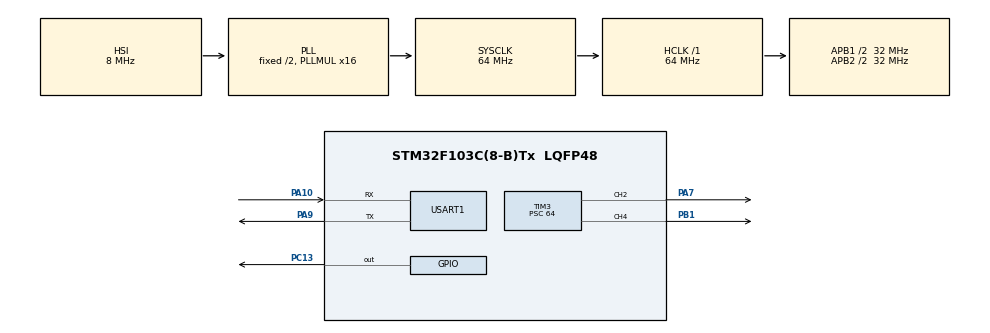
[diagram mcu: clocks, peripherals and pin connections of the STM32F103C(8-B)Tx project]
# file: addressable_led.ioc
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Mcu.Family=STM32F1
PA10.Mode=Asynchronous
TIM3.AutoReloadPreload=TIM_AUTORELOAD_PRELOAD_ENABLE
Dma.TIM3_CH4/UP.0.Mode=DMA_CIRCULAR
PC13-TAMPER-RTC.Signal=GPIO_Output
RCC.APB1CLKDivider=RCC_HCLK_DIV2
TIM3.Channel-PWM\ Generation4\ CH4=TIM_CHANNEL_4
RCC.SYSCLKSource=RCC_SYSCLKSOURCE_PLLCLK
ProjectManager.StackSize=0x400
NVIC.DMA1_Channel3_IRQn=true\:0\:0\:false\:false\:true\:false\:true
PA13.Signal=SYS_JTMS-SWDIO
PA9.Mode=Asynchronous
ProjectManager.TargetToolchain=TrueSTUDIO
RCC.HCLKFreq_Value=64000000
RCC.APB2TimFreq_Value=64000000
TIM3.Period=1000
PA9.Signal=USART1_TX
Dma.TIM3_CH4/UP.0.Instance=DMA1_Channel3
RCC.USBFreq_Value=64000000
RCC.AHBFreq_Value=64000000
SH.S_TIM3_CH2.0=TIM3_CH2,PWM Generation2 CH2
board=custom
RCC.PLLMUL=RCC_PLL_MUL16
NVIC.TIM3_IRQn=true\:0\:0\:false\:false\:true\:true\:true
RCC.APB2Freq_Value=32000000
PA14.Mode=Serial_Wire
TIM3.Prescaler=64
Dma.TIM3_CH4/UP.0.MemInc=DMA_MINC_ENABLE
PA13.Mode=Serial_Wire
Mcu.Name=STM32F103C(8-B)Tx
RCC.SYSCLKFreq_VALUE=64000000
Mcu.Package=LQFP48
PB1.Signal=S_TIM3_CH4
Dma.TIM3_CH4/UP.0.Priority=DMA_PRIORITY_LOW
USART1.VirtualMode=VM_ASYNC
PA10.Signal=USART1_RX
PA14.Signal=SYS_JTCK-SWCLK
ProjectManager.HeapSize=0x200
Dma.TIM3_CH4/UP.0.Direction=DMA_MEMORY_TO_PERIPH
Dma.TIM3_CH4/UP.0.MemDataAlignment=DMA_MDATAALIGN_HALFWORD
NVIC.PriorityGroup=NVIC_PRIORITYGROUP_4
RCC.APB2CLKDivider=RCC_HCLK_DIV2
TIM3.Channel-PWM\ Generation2\ CH2=TIM_CHANNEL_2
RCC.APB1TimFreq_Value=64000000
TIM3.Pulse-PWM\ Generation2\ CH2=1000
NVIC.USART1_IRQn=true\:0\:0\:false\:false\:true\:true\:true
Dma.Request0=TIM3_CH4/UP
RCC.APB1Freq_Value=32000000
Dma.TIM3_CH4/UP.0.PeriphInc=DMA_PINC_DISABLE
Dma.TIM3_CH4/UP.0.PeriphDataAlignment=DMA_PDATAALIGN_HALFWORD
SH.S_TIM3_CH4.0=TIM3_CH4,PWM Generation4 CH4
PA7.Signal=S_TIM3_CH2

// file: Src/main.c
/* USER CODE BEGIN Header */
/**
  ******************************************************************************
  * @file           : main.c
  * @brief          : Main program body
  ******************************************************************************
  * @attention
  *
  * <h2><center>&copy; Copyright (c) 2019 STMicroelectronics.
  * All rights reserved.</center></h2>
  *
  * This software component is licensed by ST under BSD 3-Clause license,
  * the "License"; You may not use this file except in compliance with the
  * License. You may obtain a copy of the License at:
  *                        opensource.org/licenses/BSD-3-Clause
  *
  ******************************************************************************
  */
/* USER CODE END Header */

#include "main.h"

/* USER CODE BEGIN Includes */
#include <stdint.h>
#include <stdio.h>
/* USER CODE END Includes */

/* USER CODE BEGIN PM */
typedef struct{
	uint16_t *pwm_table;
	uint16_t index;
	uint16_t size;
}pwm_list_t;

/*pwm single signal, */
//#define ONE_SEC_TESD
#define ADDRESSABLE_LED

#ifdef ADDRESSABLE_LED
	#define TIMER_PERIOD ((SystemCoreClock / 800000) - 1)
	#define TIMER_PRESCALER 0

	#define W1 52
	#define W0 26
//	uint32_t uhTimerPeriod = (uint32_t)((SystemCoreClock / 800000) - 1); //to get

	#define PWM_PERIOD  W0
	#define BLINK_PERIOD_LED ((uint32_t)10)
	//4 IS ZERO 8 IS 1
	uint16_t pwm_value[] ={

		W0,W0,W0,W0,W1,W1,W1,W1,
		W0,W0,W0,W0,W0,W0,W0,W0,
		W0,W0,W0,W0,W0,W0,W0,W0,

		W0,W0,W0,W0,W0,W0,W0,W0,
		W0,W0,W0,W0,W1,W1,W1,W1,
		W0,W0,W0,W0,W0,W0,W0,W0,

		W0,W0,W0,W0,W0,W0,W0,W0,
		W0,W0,W0,W0,W0,W0,W0,W0,
		W0,W0,W0,W1,W1,W1,W1,W1,

		W0,W0,W0,W0,W1,W1,W1,W1,
		W0,W0,W0,W0,W0,W0,W0,W0,
		W0,W0,W0,W0,W1,W1,W1,W1,

			W0,W0,W0,W0,W1,W1,W0,W1,
			W0,W1,W0,W0,W1,W0,W0,W0,
			W0,W0,W0,W1,W0,W1,W0,W0,

			W0,W0,W0,W1,W0,W0,W0,W0,
			W0,W0,W0,W1,W0,W0,W0,W0,
			W0,W0,W0,W1,W0,W0,W0,W0,

			W0,W0,W0,W1,W0,W0,W0,W0,
			W0,W0,W0,W0,W0,W0,W0,W0,
			W0,W0,W0,W1,W0,W0,W0,W0,

			W0,W0,W0,W0,W1,W1,W1,W1,
			W0,W0,W1,W1,W0,W0,W0,W0,
			W0,W0,W0,W0,W1,W1,W1,W1,

			W0,W0,W0,W1,W0,W0,W0,W0,
			W0,W0,W0,W0,W1,W0,W0,W0,
			W0,W0,W0,W1,W0,W1,W1,W0,

		0,0,0,0,0,0,0,0,
		0,0,0,0,0,0,0,0,
		0,0,0,0,0,0,0,0,

		0,0,0,0,0,0,0,0,
		0,0,0,0,0,0,0,0,
		0,0,0,0,0,0,0,0,

		0,0,0,0,0,0,0,0,
		0,0,0,0,0,0,0,0,
		0,0,0,0,0,0,0,0
};

uint16_t pwm_value_2[] ={

	W0,W0,W0,W0,W1,W1,W1,W1,
	W0,W0,W0,W0,W0,W0,W0,W0,
	W0,W0,W0,W0,W0,W0,W0,W0,

	W0,W0,W0,W0,W0,W0,W0,W0,
	W0,W0,W0,W0,W1,W1,W1,W1,
	W0,W0,W0,W0,W0,W0,W0,W0,

	W0,W0,W0,W0,W0,W0,W0,W0,
	W0,W0,W0,W0,W0,W0,W0,W0,
	W0,W0,W0,W1,W1,W1,W1,W1,

	W0,W0,W0,W0,W1,W1,W1,W1,
	W0,W0,W0,W0,W0,W0,W0,W0,
	W0,W0,W0,W0,W1,W1,W1,W1,

		W0,W0,W1,W0,W1,W1,W0,W1,
		W0,W1,W0,W0,W1,W0,W0,W0,
		W0,W0,W1,W0,W0,W1,W0,W0,

		W1,W0,W0,W0,W0,W0,W0,W0,
		W0,W0,W1,W0,W0,W0,W0,W0,
		W0,W0,W1,W0,W0,W0,W0,W0,

		W0,W0,W0,W1,W0,W0,W0,W0,
		W0,W0,W0,W0,W0,W0,W0,W0,
		W0,W0,W0,W1,W0,W0,W0,W0,

		W0,W0,W0,W0,W1,W1,W1,W1,
		W0,W1,W1,W1,W0,W0,W0,W0,
		W0,W0,W0,W0,W1,W1,W1,W1,

		W0,W1,W0,W1,W0,W0,W0,W0,
		W0,W0,W1,W0,W1,W0,W0,W0,
		W0,W0,W0,W1,W0,W1,W1,W0,

	0,0,0,0,0,0,0,0,
	0,0,0,0,0,0,0,0,
	0,0,0,0,0,0,0,0,

	0,0,0,0,0,0,0,0,
	0,0,0,0,0,0,0,0,
	0,0,0,0,0,0,0,0,

	0,0,0,0,0,0,0,0,
	0,0,0,0,0,0,0,0,
	0,0,0,0,0,0,0,0
};
#endif
#ifdef ONE_SEC_TESD
	#define TIMER_PERIOD 1000
	#define TIMER_PRESCALER 640
	#define PWM_PERIOD  20
	#define BLINK_PERIOD_LED ((uint32_t)10)
	uint16_t pwm_value[69] =
/*	{0000  , 0000 ,  0000,
	 0000  , 0000 ,  0000,
	 4000  , 0000 ,  2000,
	 1000  ,  200 ,  1000,
	 2000  , 0000 ,  4000,
	 5000  , 0000 ,  7000,
	 8000  , 0000 ,  9980};
*/
{
 20  ,  20 ,  20,
 50  ,  50 ,  50,
 100  ,  100 ,  100,
 200  ,  200 ,  200,
 300  , 300 ,  300,
 400  , 400 ,  400,
 500  , 500 ,  500,
 600  , 600 ,  600,
 700  , 700 ,  700,
 800  , 800 ,  800,
 900  , 900 ,  900,

 990  , 990 ,  990,
 900  , 900 ,  900,
 800  , 800 ,  800,
 700  , 700 ,  700,
 600  , 600 ,  600,
 500  , 500 ,  500,
 400  , 400 ,  400,
 300  , 300 ,  300,
 200  , 200 ,  200,
 100  ,  100 ,  100,
 50  ,  50 ,  50,
 20  ,  20 ,  20,
};

#endif

pwm_list_t pwm_list= {pwm_value, 0,(sizeof(pwm_value)/2)-1};

volatile uint32_t blink_period = BLINK_PERIOD_LED;

 void HAL_TIM_PWM_PulseFinishedHalfCpltCallback(TIM_HandleTypeDef *htim)
{
	// if (htim->Instance ==TIM3 ){
	//	pwm_list.pwm_table = 0;
	// }
}

void HAL_TIM_PWM_PulseFinishedCallback(TIM_HandleTypeDef *htim)
{
	//HAL_TIM_PWM_Stop_DMA(&htim3, TIM_CHANNEL_4);
	// if (htim->Instance ==TIM3 ){
		// pwm_list.pwm_table = 0;
	// }
}

void HAL_TIM_PeriodElapsedCallback(TIM_HandleTypeDef *htim)
{

	// if (blink_period){
		// blink_period--;
		// return;
	// }
#ifdef USE_TIMER_NOT_DMA
	if (pwm_list.index < pwm_list.size )
	{
		pwm_list.index++;
	}else{
		pwm_list.index = 0;
	}
	TIM3->CCR4 = pwm_list.pwm_table[pwm_list.index];
#endif
	blink_period = BLINK_PERIOD_LED;
	GPIOC->ODR ^=GPIO_PIN_13;
}
// GPIOC->ODR ^=GPIO_PIN_13;

/* USER CODE END PM */

TIM_HandleTypeDef htim3;
DMA_HandleTypeDef hdma_tim3_ch4_up;

UART_HandleTypeDef huart1;

void SystemClock_Config(void);
static void MX_GPIO_Init(void);
static void MX_DMA_Init(void);
static void MX_TIM3_Init(void);
static void MX_USART1_UART_Init(void);

int main(void)
{
  /* USER CODE BEGIN 1 */
	setvbuf(stdout,0, _IOLBF, 0);

  /* USER CODE END 1 */

  /* MCU Configuration--------------------------------------------------------*/

  /* Reset of all peripherals, Initializes the Flash interface and the Systick. */
  HAL_Init();

  /* Configure the system clock */
  SystemClock_Config();

  /* Initialize all configured peripherals */
  MX_GPIO_Init();
  MX_DMA_Init();
  MX_TIM3_Init();
  MX_USART1_UART_Init();
  /* USER CODE BEGIN 2 */
	uint32_t seconds = 0;
//	HAL_TIM_Base_Start_IT(&htim3);
	HAL_TIM_Base_Start(&htim3);

	//HAL_TIM_PWM_Start(&htim3,TIM_CHANNEL_4);
	printf("Program stars!!\r\n" );
	printf("PWM table size[%d] !!\r\n",sizeof(pwm_value)/2 );
	HAL_TIM_PWM_Start_DMA(&htim3, TIM_CHANNEL_4, (uint32_t *)pwm_value, sizeof(pwm_value)/2);
  /* USER CODE END 2 */

  /* Infinite loop */
  while (1)
  {

    /* USER CODE BEGIN 3 */

		 if ( HAL_GetTick() >seconds){
			seconds = HAL_GetTick() + 1000;
			printf("LOOPING \r\n");
			/// GPIOC->ODR ^=GPIO_PIN_13;
		 }
  }
  /* USER CODE END 3 */
}

void SystemClock_Config(void)
{
  RCC_OscInitTypeDef RCC_OscInitStruct = {0};
  RCC_ClkInitTypeDef RCC_ClkInitStruct = {0};

  /** Initializes the CPU, AHB and APB busses clocks
  */
  RCC_OscInitStruct.OscillatorType = RCC_OSCILLATORTYPE_HSI;
  RCC_OscInitStruct.HSIState = RCC_HSI_ON;
  RCC_OscInitStruct.HSICalibrationValue = RCC_HSICALIBRATION_DEFAULT;
  RCC_OscInitStruct.PLL.PLLState = RCC_PLL_ON;
  RCC_OscInitStruct.PLL.PLLSource = RCC_PLLSOURCE_HSI_DIV2;
  RCC_OscInitStruct.PLL.PLLMUL = RCC_PLL_MUL16;
  if (HAL_RCC_OscConfig(&RCC_OscInitStruct) != HAL_OK)
  {
    Error_Handler();
  }
  /** Initializes the CPU, AHB and APB busses clocks
  */
  RCC_ClkInitStruct.ClockType = RCC_CLOCKTYPE_HCLK|RCC_CLOCKTYPE_SYSCLK
                              |RCC_CLOCKTYPE_PCLK1|RCC_CLOCKTYPE_PCLK2;
  RCC_ClkInitStruct.SYSCLKSource = RCC_SYSCLKSOURCE_PLLCLK;
  RCC_ClkInitStruct.AHBCLKDivider = RCC_SYSCLK_DIV1;
  RCC_ClkInitStruct.APB1CLKDivider = RCC_HCLK_DIV2;
  RCC_ClkInitStruct.APB2CLKDivider = RCC_HCLK_DIV2;

  if (HAL_RCC_ClockConfig(&RCC_ClkInitStruct, FLASH_LATENCY_2) != HAL_OK)
  {
    Error_Handler();
  }
}

static void MX_TIM3_Init(void)
{

  TIM_MasterConfigTypeDef sMasterConfig = {0};
  TIM_OC_InitTypeDef sConfigOC = {0};

  htim3.Instance = TIM3;
  htim3.Init.Prescaler = TIMER_PRESCALER;
  htim3.Init.CounterMode = TIM_COUNTERMODE_UP;
  htim3.Init.Period = TIMER_PERIOD;
  htim3.Init.ClockDivision = TIM_CLOCKDIVISION_DIV1;
  htim3.Init.AutoReloadPreload = TIM_AUTORELOAD_PRELOAD_ENABLE;
  if (HAL_TIM_PWM_Init(&htim3) != HAL_OK)
  {
    Error_Handler();
  }
  sMasterConfig.MasterOutputTrigger = TIM_TRGO_RESET;
  sMasterConfig.MasterSlaveMode = TIM_MASTERSLAVEMODE_DISABLE;
  if (HAL_TIMEx_MasterConfigSynchronization(&htim3, &sMasterConfig) != HAL_OK)
  {
    Error_Handler();
  }
  sConfigOC.OCMode = TIM_OCMODE_PWM1;
  sConfigOC.Pulse = 0;
  sConfigOC.OCPolarity   = TIM_OCPOLARITY_HIGH;
  sConfigOC.OCFastMode   = TIM_OCFAST_ENABLE;
  sConfigOC.OCIdleState  = TIM_OCIDLESTATE_SET;
  sConfigOC.OCNIdleState = TIM_OCNIDLESTATE_RESET;

  if (HAL_TIM_PWM_ConfigChannel(&htim3, &sConfigOC, TIM_CHANNEL_2) != HAL_OK)
  {
    Error_Handler();
  }
  sConfigOC.Pulse = PWM_PERIOD;
  if (HAL_TIM_PWM_ConfigChannel(&htim3, &sConfigOC, TIM_CHANNEL_4) != HAL_OK)
  {
    Error_Handler();
  }
  HAL_TIM_MspPostInit(&htim3);

}

static void MX_USART1_UART_Init(void)
{

  huart1.Instance = USART1;
  huart1.Init.BaudRate = 115200;
  huart1.Init.WordLength = UART_WORDLENGTH_8B;
  huart1.Init.StopBits = UART_STOPBITS_1;
  huart1.Init.Parity = UART_PARITY_NONE;
  huart1.Init.Mode = UART_MODE_TX_RX;
  huart1.Init.HwFlowCtl = UART_HWCONTROL_NONE;
  huart1.Init.OverSampling = UART_OVERSAMPLING_16;
  if (HAL_UART_Init(&huart1) != HAL_OK)
  {
    Error_Handler();
  }

}

static void MX_DMA_Init(void)
{

  /* DMA controller clock enable */
  __HAL_RCC_DMA1_CLK_ENABLE();

  /* DMA interrupt init */
  /* DMA1_Channel3_IRQn interrupt configuration */
  HAL_NVIC_SetPriority(DMA1_Channel3_IRQn, 0, 0);
  HAL_NVIC_EnableIRQ(DMA1_Channel3_IRQn);

}

static void MX_GPIO_Init(void)
{
  GPIO_InitTypeDef GPIO_InitStruct = {0};

  /* GPIO Ports Clock Enable */
  __HAL_RCC_GPIOC_CLK_ENABLE();
  __HAL_RCC_GPIOA_CLK_ENABLE();
  __HAL_RCC_GPIOB_CLK_ENABLE();

  /*Configure GPIO pin Output Level */
  HAL_GPIO_WritePin(GPIOC, GPIO_PIN_13, GPIO_PIN_RESET);

  /*Configure GPIO pin : PC13 */
  GPIO_InitStruct.Pin = GPIO_PIN_13;
  GPIO_InitStruct.Mode = GPIO_MODE_OUTPUT_PP;
  GPIO_InitStruct.Pull = GPIO_NOPULL;
  GPIO_InitStruct.Speed = GPIO_SPEED_FREQ_LOW;
  HAL_GPIO_Init(GPIOC, &GPIO_InitStruct);

}

void Error_Handler(void)
{
}

/************************ (C) COPYRIGHT STMicroelectronics *****END OF FILE****/
